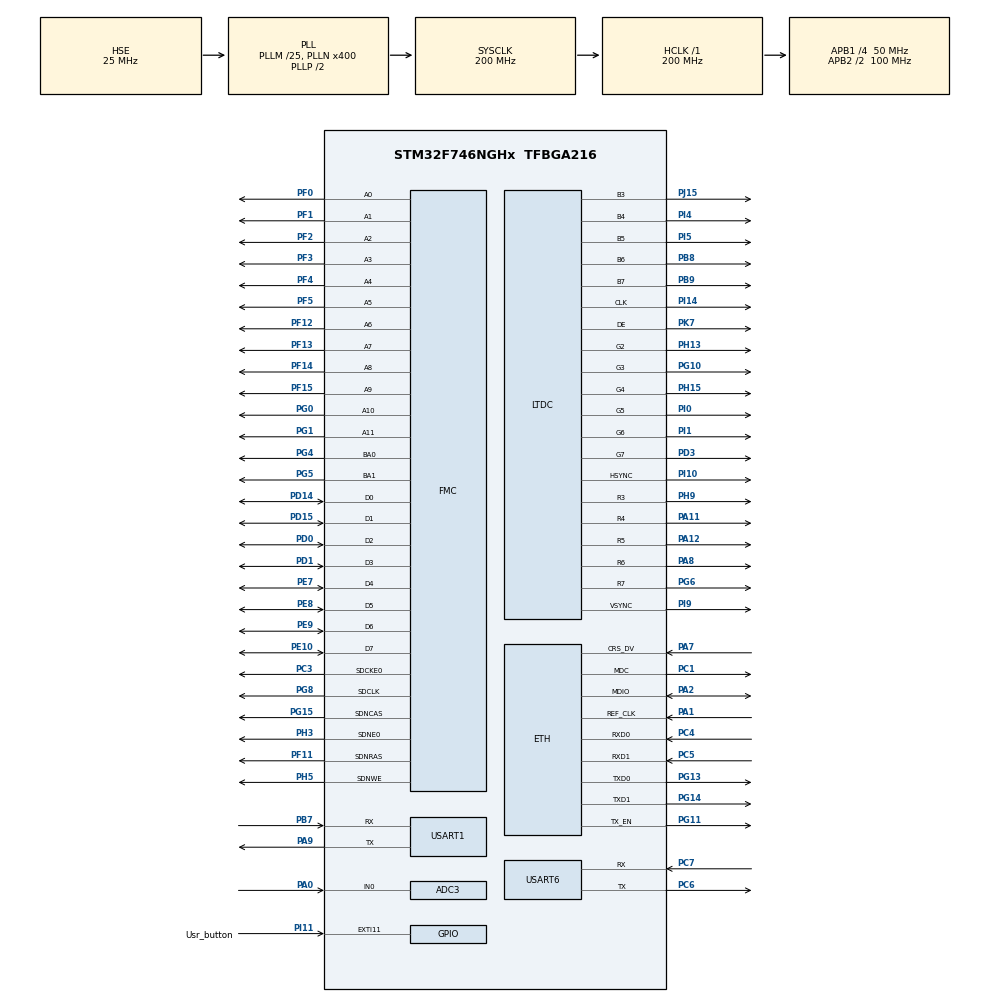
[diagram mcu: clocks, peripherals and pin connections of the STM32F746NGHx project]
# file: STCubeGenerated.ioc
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ADC3.Channel-0\#ChannelRegularConversion=ADC_CHANNEL_0
ADC3.NbrOfConversionFlag=1
ADC3.Rank-0\#ChannelRegularConversion=1
ADC3.SamplingTime-0\#ChannelRegularConversion=ADC_SAMPLETIME_3CYCLES
CORTEX_M7.AccessPermission-Cortex_Memory_Protection_Unit_Region0_Settings=MPU_REGION_FULL_ACCESS
CORTEX_M7.AccessPermission-Cortex_Memory_Protection_Unit_Region1_Settings=MPU_REGION_FULL_ACCESS
CORTEX_M7.AccessPermission-Cortex_Memory_Protection_Unit_Region2_Settings=MPU_REGION_FULL_ACCESS
CORTEX_M7.BaseAddress-Cortex_Memory_Protection_Unit_Region0_Settings=0x20000000
CORTEX_M7.BaseAddress-Cortex_Memory_Protection_Unit_Region1_Settings=0x2004C000
CORTEX_M7.BaseAddress-Cortex_Memory_Protection_Unit_Region2_Settings=0xC0000000
CORTEX_M7.CPU_DCache=Enabled
CORTEX_M7.CPU_ICache=Enabled
CORTEX_M7.DisableExec-Cortex_Memory_Protection_Unit_Region0_Settings=MPU_INSTRUCTION_ACCESS_DISABLE
CORTEX_M7.DisableExec-Cortex_Memory_Protection_Unit_Region1_Settings=MPU_INSTRUCTION_ACCESS_DISABLE
CORTEX_M7.DisableExec-Cortex_Memory_Protection_Unit_Region2_Settings=MPU_INSTRUCTION_ACCESS_DISABLE
CORTEX_M7.Enable-Cortex_Memory_Protection_Unit_Region0_Settings=MPU_REGION_ENABLE
CORTEX_M7.Enable-Cortex_Memory_Protection_Unit_Region1_Settings=MPU_REGION_ENABLE
CORTEX_M7.Enable-Cortex_Memory_Protection_Unit_Region2_Settings=MPU_REGION_ENABLE
CORTEX_M7.IsBufferable-Cortex_Memory_Protection_Unit_Region0_Settings=MPU_ACCESS_BUFFERABLE
CORTEX_M7.IsCacheable-Cortex_Memory_Protection_Unit_Region0_Settings=MPU_ACCESS_CACHEABLE
CORTEX_M7.IsShareable-Cortex_Memory_Protection_Unit_Region0_Settings=MPU_ACCESS_NOT_SHAREABLE
CORTEX_M7.MPU_Control=MPU_PRIVILEGED_DEFAULT
CORTEX_M7.Size-Cortex_Memory_Protection_Unit_Region0_Settings=MPU_REGION_SIZE_512KB
CORTEX_M7.Size-Cortex_Memory_Protection_Unit_Region1_Settings=MPU_REGION_SIZE_16KB
CORTEX_M7.Size-Cortex_Memory_Protection_Unit_Region2_Settings=MPU_REGION_SIZE_16MB
CORTEX_M7.TypeExtField-Cortex_Memory_Protection_Unit_Region0_Settings=MPU_TEX_LEVEL1
CORTEX_M7.TypeExtField-Cortex_Memory_Protection_Unit_Region1_Settings=MPU_TEX_LEVEL1
CORTEX_M7.TypeExtField-Cortex_Memory_Protection_Unit_Region2_Settings=MPU_TEX_LEVEL1
ETH.MediaInterface=HAL_ETH_RMII_MODE
Mcu.Family=STM32F7
Mcu.Name=STM32F746NGHx
Mcu.Package=TFBGA216
NVIC.ETH_IRQn=true\:0\:0\:false\:false\:false\:true\:true\:true
NVIC.EXTI15_10_IRQn=true\:0\:0\:false\:false\:true\:true\:true\:true
NVIC.PriorityGroup=NVIC_PRIORITYGROUP_4
NVIC.USART1_IRQn=true\:0\:0\:false\:false\:true\:true\:true\:true
NVIC.USART6_IRQn=true\:0\:0\:false\:false\:true\:true\:true\:true
PA0/WKUP.Signal=ADCx_IN0
PA1.Mode=RMII
PA1.Signal=ETH_REF_CLK
PA11.Mode=RGB565
PA11.Signal=LTDC_R4
PA12.Mode=RGB565
PA12.Signal=LTDC_R5
PA2.Mode=RMII
PA2.Signal=ETH_MDIO
PA7.Mode=RMII
PA7.Signal=ETH_CRS_DV
PA8.Mode=RGB565
PA8.Signal=LTDC_R6
PA9.Mode=Asynchronous
PA9.Signal=USART1_TX
PB7.Mode=Asynchronous
PB7.Signal=USART1_RX
PB8.Mode=RGB565
PB8.Signal=LTDC_B6
PB9.Mode=RGB565
PB9.Signal=LTDC_B7
PC1.Mode=RMII
PC1.Signal=ETH_MDC
PC3.Mode=SdramChipSelect1_1
PC3.Signal=FMC_SDCKE0
PC4.Mode=RMII
PC4.Signal=ETH_RXD0
PC5.Mode=RMII
PC5.Signal=ETH_RXD1
PC6.Mode=Asynchronous
PC6.Signal=USART6_TX
PC7.Mode=Asynchronous
PC7.Signal=USART6_RX
PD0.Signal=FMC_D2_DA2
PD1.Signal=FMC_D3_DA3
PD10.Signal=FMC_D15_DA15
PD11.Signal=FMC_A16_CLE
PD14.Signal=FMC_D0_DA0
PD15.Signal=FMC_D1_DA1
PD3.Mode=RGB565
PD3.Signal=LTDC_G7
PD8.Signal=FMC_D13_DA13
PD9.Signal=FMC_D14_DA14
PE0.Signal=FMC_NBL0
PE1.Signal=FMC_NBL1
PE10.Signal=FMC_D7_DA7
PE11.Signal=FMC_D8_DA8
PE12.Signal=FMC_D9_DA9
PE13.Signal=FMC_D10_DA10
PE14.Signal=FMC_D11_DA11
PE15.Signal=FMC_D12_DA12
PE7.Signal=FMC_D4_DA4
PE8.Signal=FMC_D5_DA5
PE9.Signal=FMC_D6_DA6
PF0.Signal=FMC_A0
PF1.Signal=FMC_A1
PF11.Signal=FMC_SDNRAS
PF12.Signal=FMC_A6
PF13.Signal=FMC_A7
PF14.Signal=FMC_A8
PF15.Signal=FMC_A9
PF2.Signal=FMC_A2
PF3.Signal=FMC_A3
PF4.Signal=FMC_A4
PF5.Signal=FMC_A5
PG0.Signal=FMC_A10
PG1.Signal=FMC_A11
PG10.Mode=RGB565
PG10.Signal=LTDC_G3
PG11.Mode=RMII
PG11.Signal=ETH_TX_EN
PG13.Mode=RMII
PG13.Signal=ETH_TXD0
PG14.Mode=RMII
PG14.Signal=ETH_TXD1
PG15.Signal=FMC_SDNCAS
PG4.Signal=FMC_A14_BA0
PG5.Signal=FMC_A15_BA1
PG6.Mode=RGB565
PG6.Signal=LTDC_R7
PG8.Signal=FMC_SDCLK
PH0/OSC_IN.Mode=HSE-External-Oscillator
PH0/OSC_IN.Signal=RCC_OSC_IN
PH1/OSC_OUT.Mode=HSE-External-Oscillator
PH1/OSC_OUT.Signal=RCC_OSC_OUT
PH13.Mode=RGB565
PH13.Signal=LTDC_G2
PH15.Mode=RGB565
PH15.Signal=LTDC_G4
PH3.Mode=SdramChipSelect1_1
PH3.Signal=FMC_SDNE0
PH5.Signal=FMC_SDNWE
PH9.Mode=RGB565
PH9.Signal=LTDC_R3
PI0.Mode=RGB565
PI0.Signal=LTDC_G5
PI1.Mode=RGB565
PI1.Signal=LTDC_G6
PI10.Mode=RGB565
PI10.Signal=LTDC_HSYNC
PI11.GPIO_Label=Usr_button
PI11.GPIO_ModeDefaultEXTI=GPIO_MODE_IT_RISING_FALLING
PI11.Signal=GPXTI11
PI14.Mode=RGB565
PI14.Signal=LTDC_CLK
PI4.Mode=RGB565
PI4.Signal=LTDC_B4
PI5.Mode=RGB565
PI5.Signal=LTDC_B5
PI9.Mode=RGB565
PI9.Signal=LTDC_VSYNC
PJ15.Mode=RGB565
PJ15.Signal=LTDC_B3
PK7.Mode=RGB565
PK7.Signal=LTDC_DE
ProjectManager.HeapSize=0x200
ProjectManager.StackSize=0x400
ProjectManager.TargetToolchain=MDK-ARM V5
RCC.AHBFreq_Value=200000000
RCC.APB1CLKDivider=RCC_HCLK_DIV4
RCC.APB1Freq_Value=50000000
RCC.APB1TimFreq_Value=100000000
RCC.APB2CLKDivider=RCC_HCLK_DIV2
RCC.APB2Freq_Value=100000000
RCC.APB2TimFreq_Value=200000000
RCC.CortexFreq_Value=200000000
RCC.HCLKFreq_Value=200000000
RCC.HSE_VALUE=25000000
RCC.HSI_VALUE=16000000
RCC.LSE_VALUE=32768
RCC.PLLM=25
RCC.PLLN=400
RCC.PLLSAIRDiv=RCC_PLLSAIDIVR_4
RCC.PLLSourceVirtual=RCC_PLLSOURCE_HSE
RCC.SYSCLKFreq_VALUE=200000000
RCC.SYSCLKSource=RCC_SYSCLKSOURCE_PLLCLK
RCC.USBFreq_Value=200000000
RCC.VCOOutputFreq_Value=400000000
SH.ADCx_IN0.0=ADC3_IN0,IN0
SH.FMC_A0.0=FMC_A0,12b-sda1
SH.FMC_A1.0=FMC_A1,12b-sda1
SH.FMC_A10.0=FMC_A10,12b-sda1
SH.FMC_A11.0=FMC_A11,12b-sda1
SH.FMC_A14_BA0.0=FMC_BA0,FourSdramBanks1
SH.FMC_A15_BA1.0=FMC_BA1,FourSdramBanks1
SH.FMC_A16_CLE.0=FMC_A16
SH.FMC_A2.0=FMC_A2,12b-sda1
SH.FMC_A3.0=FMC_A3,12b-sda1
SH.FMC_A4.0=FMC_A4,12b-sda1
SH.FMC_A5.0=FMC_A5,12b-sda1
SH.FMC_A6.0=FMC_A6,12b-sda1
SH.FMC_A7.0=FMC_A7,12b-sda1
SH.FMC_A8.0=FMC_A8,12b-sda1
SH.FMC_A9.0=FMC_A9,12b-sda1
SH.FMC_D0_DA0.0=FMC_D0,sd-8b-d1
SH.FMC_D10_DA10.0=FMC_D10
SH.FMC_D11_DA11.0=FMC_D11
SH.FMC_D12_DA12.0=FMC_D12
SH.FMC_D13_DA13.0=FMC_D13
SH.FMC_D14_DA14.0=FMC_D14
SH.FMC_D15_DA15.0=FMC_D15
SH.FMC_D1_DA1.0=FMC_D1,sd-8b-d1
SH.FMC_D2_DA2.0=FMC_D2,sd-8b-d1
SH.FMC_D3_DA3.0=FMC_D3,sd-8b-d1
SH.FMC_D4_DA4.0=FMC_D4,sd-8b-d1
SH.FMC_D5_DA5.0=FMC_D5,sd-8b-d1
SH.FMC_D6_DA6.0=FMC_D6,sd-8b-d1
SH.FMC_D7_DA7.0=FMC_D7,sd-8b-d1
SH.FMC_D8_DA8.0=FMC_D8
SH.FMC_D9_DA9.0=FMC_D9
SH.FMC_NBL0.0=FMC_NBL0
SH.FMC_NBL1.0=FMC_NBL1
SH.FMC_SDCLK.0=FMC_SDCLK,12b-sda1
SH.FMC_SDNCAS.0=FMC_SDNCAS,12b-sda1
SH.FMC_SDNRAS.0=FMC_SDNRAS,12b-sda1
SH.FMC_SDNWE.0=FMC_SDNWE,12b-sda1
USART1.VirtualMode-Asynchronous=VM_ASYNC
USART6.OverrunDisableParam=ADVFEATURE_OVERRUN_DISABLE
USART6.VirtualMode-Asynchronous=VM_ASYNC
VP_DMA2D_VS_DMA2D.Mode=DMA2D_Activate
board=STCubeGenerated

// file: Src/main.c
/* USER CODE BEGIN Header */
/**
  ******************************************************************************
  * @file           : main.c
  * @brief          : Main program body
  ******************************************************************************
  * @attention
  *
  * <h2><center>&copy; Copyright (c) 2019 STMicroelectronics.
  * All rights reserved.</center></h2>
  *
  * This software component is licensed by ST under BSD 3-Clause license,
  * the "License"; You may not use this file except in compliance with the
  * License. You may obtain a copy of the License at:
  *                        opensource.org/licenses/BSD-3-Clause
  *
  ******************************************************************************
  */
/* USER CODE END Header */
#include "main.h"
#include "string.h"

/* USER CODE BEGIN Includes */
#include <stdio.h>
#include <stdbool.h>
/* USER CODE END Includes */

/* USER CODE BEGIN PD */
#define BUFFER_SIZE 16
/* USER CODE END PD */

#if defined ( __ICCARM__ ) /*!< IAR Compiler */
#pragma location=0x2004c000
ETH_DMADescTypeDef  DMARxDscrTab[ETH_RX_DESC_CNT]; /* Ethernet Rx DMA Descriptors */
#pragma location=0x2004c0a0
ETH_DMADescTypeDef  DMATxDscrTab[ETH_TX_DESC_CNT]; /* Ethernet Tx DMA Descriptors */

#elif defined ( __CC_ARM )  /* MDK ARM Compiler */

__attribute__((at(0x2004c000))) ETH_DMADescTypeDef  DMARxDscrTab[ETH_RX_DESC_CNT]; /* Ethernet Rx DMA Descriptors */
__attribute__((at(0x2004c0a0))) ETH_DMADescTypeDef  DMATxDscrTab[ETH_TX_DESC_CNT]; /* Ethernet Tx DMA Descriptors */

#elif defined ( __GNUC__ ) /* GNU Compiler */
ETH_DMADescTypeDef DMARxDscrTab[ETH_RX_DESC_CNT] __attribute__((section(".RxDecripSection"))); /* Ethernet Rx DMA Descriptors */
ETH_DMADescTypeDef DMATxDscrTab[ETH_TX_DESC_CNT] __attribute__((section(".TxDecripSection")));   /* Ethernet Tx DMA Descriptors */

#endif

ETH_TxPacketConfig TxConfig;

ADC_HandleTypeDef hadc3;

DMA2D_HandleTypeDef hdma2d;

ETH_HandleTypeDef heth;

LTDC_HandleTypeDef hltdc;

UART_HandleTypeDef huart1;
UART_HandleTypeDef huart6;

SDRAM_HandleTypeDef hsdram1;

/* USER CODE BEGIN PV */
/* Private variables ---------------------------------------------------------*/
uint8_t data_uart6;
uint8_t data_uart1;
bool pin = false;
bool PinPrev = false;
bool connected = false;
char receivedBuffer[BUFFER_SIZE];
int bufferIndex = 0;
/* USER CODE END PV */

void SystemClock_Config(void);
static void MPU_Initialize(void);
static void MPU_Config(void);
static void MX_GPIO_Init(void);
static void MX_FMC_Init(void);
static void MX_USART1_UART_Init(void);
static void MX_DMA2D_Init(void);
static void MX_USART6_UART_Init(void);
static void MX_ADC3_Init(void);
void ConnectToLoraWan();
void SendMessageToHuart(UART_HandleTypeDef *huart, char msg[]);
void SendMessage(bool pressed, int32_t potValue);
/* USER CODE BEGIN PFP */
/* Private function prototypes -----------------------------------------------*/
extern void BSP_SDRAM_Init(void);
/* USER CODE END PFP */

/* USER CODE BEGIN 0 */
/**
  * Override default HAL_GetTick function
  */
uint32_t HAL_GetTick (void) {
  static uint32_t ticks = 0U;
         uint32_t i;

  if (osKernelGetState () == osKernelRunning) {
    return ((uint32_t)osKernelGetTickCount ());
  }

  /* If Kernel is not running wait approximately 1 ms then increment
     and return auxiliary tick counter value */
  for (i = (SystemCoreClock >> 14U); i > 0U; i--) {
    __NOP(); __NOP(); __NOP(); __NOP(); __NOP(); __NOP();
    __NOP(); __NOP(); __NOP(); __NOP(); __NOP(); __NOP();
  }
  return ++ticks;
}

/**
  * Override default HAL_InitTick function
  */
HAL_StatusTypeDef HAL_InitTick(uint32_t TickPriority) {

  UNUSED(TickPriority);

  return HAL_OK;
}
/* USER CODE END 0 */

int main(void)
{

  /* Enable I-Cache---------------------------------------------------------*/
  SCB_EnableICache();

  /* Enable D-Cache---------------------------------------------------------*/
  SCB_EnableDCache();

  /* MCU Configuration--------------------------------------------------------*/

  /* Reset of all peripherals, Initializes the Flash interface and the Systick. */
  HAL_Init();

  /* MPU Configuration--------------------------------------------------------*/
  MPU_Config();

  /* USER CODE BEGIN Init */
  BSP_SDRAM_Init();                           /* Initialize BSP SDRAM           */
  /* USER CODE END Init */

  /* Configure the system clock */
  SystemClock_Config();

  /* USER CODE BEGIN SysInit */
  SystemCoreClockUpdate();
  /* USER CODE END SysInit */

  /* Initialize all configured peripherals */
  MX_GPIO_Init();
  MX_USART1_UART_Init();
  MX_DMA2D_Init();
  MX_USART6_UART_Init();
  MX_ADC3_Init();
  /* USER CODE BEGIN 2 */

	HAL_UART_Receive_IT(&huart1,&data_uart1,1);
	HAL_UART_Receive_IT(&huart6,&data_uart6,1);

	/* Initialize CMSIS-RTOS2 */
  osKernelInitialize ();

  /* Create application main thread */
  osThreadNew(app_main, NULL, &app_main_attr);

  /* Start thread execution */
  osKernelStart();

  /* USER CODE END 2 */

  /* Infinite loop */
  while (1)
  {

  }
}

void SystemClock_Config(void)
{
  RCC_OscInitTypeDef RCC_OscInitStruct = {0};
  RCC_ClkInitTypeDef RCC_ClkInitStruct = {0};

  /** Configure the main internal regulator output voltage
  */
  __HAL_RCC_PWR_CLK_ENABLE();
  __HAL_PWR_VOLTAGESCALING_CONFIG(PWR_REGULATOR_VOLTAGE_SCALE1);

  /** Initializes the RCC Oscillators according to the specified parameters
  * in the RCC_OscInitTypeDef structure.
  */
  RCC_OscInitStruct.OscillatorType = RCC_OSCILLATORTYPE_HSE;
  RCC_OscInitStruct.HSEState = RCC_HSE_ON;
  RCC_OscInitStruct.PLL.PLLState = RCC_PLL_ON;
  RCC_OscInitStruct.PLL.PLLSource = RCC_PLLSOURCE_HSE;
  RCC_OscInitStruct.PLL.PLLM = 25;
  RCC_OscInitStruct.PLL.PLLN = 400;
  RCC_OscInitStruct.PLL.PLLP = RCC_PLLP_DIV2;
  RCC_OscInitStruct.PLL.PLLQ = 2;
  if (HAL_RCC_OscConfig(&RCC_OscInitStruct) != HAL_OK)
  {
    Error_Handler();
  }

  /** Activate the Over-Drive mode
  */
  if (HAL_PWREx_EnableOverDrive() != HAL_OK)
  {
    Error_Handler();
  }

  /** Initializes the CPU, AHB and APB buses clocks
  */
  RCC_ClkInitStruct.ClockType = RCC_CLOCKTYPE_HCLK|RCC_CLOCKTYPE_SYSCLK
                              |RCC_CLOCKTYPE_PCLK1|RCC_CLOCKTYPE_PCLK2;
  RCC_ClkInitStruct.SYSCLKSource = RCC_SYSCLKSOURCE_PLLCLK;
  RCC_ClkInitStruct.AHBCLKDivider = RCC_SYSCLK_DIV1;
  RCC_ClkInitStruct.APB1CLKDivider = RCC_HCLK_DIV4;
  RCC_ClkInitStruct.APB2CLKDivider = RCC_HCLK_DIV2;

  if (HAL_RCC_ClockConfig(&RCC_ClkInitStruct, FLASH_LATENCY_6) != HAL_OK)
  {
    Error_Handler();
  }
}

static void MX_ADC3_Init(void)
{

  ADC_ChannelConfTypeDef sConfig = {0};

  /** Configure the global features of the ADC (Clock, Resolution, Data Alignment and number of conversion)
  */
  hadc3.Instance = ADC3;
  hadc3.Init.ClockPrescaler = ADC_CLOCK_SYNC_PCLK_DIV4;
  hadc3.Init.Resolution = ADC_RESOLUTION_12B;
  hadc3.Init.ScanConvMode = ADC_SCAN_DISABLE;
  hadc3.Init.ContinuousConvMode = DISABLE;
  hadc3.Init.DiscontinuousConvMode = DISABLE;
  hadc3.Init.ExternalTrigConvEdge = ADC_EXTERNALTRIGCONVEDGE_NONE;
  hadc3.Init.ExternalTrigConv = ADC_SOFTWARE_START;
  hadc3.Init.DataAlign = ADC_DATAALIGN_RIGHT;
  hadc3.Init.NbrOfConversion = 1;
  hadc3.Init.DMAContinuousRequests = DISABLE;
  hadc3.Init.EOCSelection = ADC_EOC_SINGLE_CONV;
  if (HAL_ADC_Init(&hadc3) != HAL_OK)
  {
    Error_Handler();
  }

  /** Configure for the selected ADC regular channel its corresponding rank in the sequencer and its sample time.
  */
  sConfig.Channel = ADC_CHANNEL_0;
  sConfig.Rank = ADC_REGULAR_RANK_1;
  sConfig.SamplingTime = ADC_SAMPLETIME_3CYCLES;
  if (HAL_ADC_ConfigChannel(&hadc3, &sConfig) != HAL_OK)
  {
    Error_Handler();
  }

}

static void MX_DMA2D_Init(void)
{

  hdma2d.Instance = DMA2D;
  hdma2d.Init.Mode = DMA2D_M2M;
  hdma2d.Init.ColorMode = DMA2D_OUTPUT_ARGB8888;
  hdma2d.Init.OutputOffset = 0;
  hdma2d.LayerCfg[1].InputOffset = 0;
  hdma2d.LayerCfg[1].InputColorMode = DMA2D_INPUT_ARGB8888;
  hdma2d.LayerCfg[1].AlphaMode = DMA2D_NO_MODIF_ALPHA;
  hdma2d.LayerCfg[1].InputAlpha = 0;
  if (HAL_DMA2D_Init(&hdma2d) != HAL_OK)
  {
    Error_Handler();
  }
  if (HAL_DMA2D_ConfigLayer(&hdma2d, 1) != HAL_OK)
  {
    Error_Handler();
  }

}

void MX_ETH_Init(void)
{

   static uint8_t MACAddr[6];

  heth.Instance = ETH;
  MACAddr[0] = 0x00;
  MACAddr[1] = 0x80;
  MACAddr[2] = 0xE1;
  MACAddr[3] = 0x00;
  MACAddr[4] = 0x00;
  MACAddr[5] = 0x00;
  heth.Init.MACAddr = &MACAddr[0];
  heth.Init.MediaInterface = HAL_ETH_RMII_MODE;
  heth.Init.TxDesc = DMATxDscrTab;
  heth.Init.RxDesc = DMARxDscrTab;
  heth.Init.RxBuffLen = 1524;

  if (HAL_ETH_Init(&heth) != HAL_OK)
  {
    Error_Handler();
  }

  memset(&TxConfig, 0 , sizeof(ETH_TxPacketConfig));
  TxConfig.Attributes = ETH_TX_PACKETS_FEATURES_CSUM | ETH_TX_PACKETS_FEATURES_CRCPAD;
  TxConfig.ChecksumCtrl = ETH_CHECKSUM_IPHDR_PAYLOAD_INSERT_PHDR_CALC;
  TxConfig.CRCPadCtrl = ETH_CRC_PAD_INSERT;

}

void MX_LTDC_Init(void)
{

  LTDC_LayerCfgTypeDef pLayerCfg = {0};
  LTDC_LayerCfgTypeDef pLayerCfg1 = {0};

  hltdc.Instance = LTDC;
  hltdc.Init.HSPolarity = LTDC_HSPOLARITY_AL;
  hltdc.Init.VSPolarity = LTDC_VSPOLARITY_AL;
  hltdc.Init.DEPolarity = LTDC_DEPOLARITY_AL;
  hltdc.Init.PCPolarity = LTDC_PCPOLARITY_IPC;
  hltdc.Init.HorizontalSync = 7;
  hltdc.Init.VerticalSync = 3;
  hltdc.Init.AccumulatedHBP = 14;
  hltdc.Init.AccumulatedVBP = 5;
  hltdc.Init.AccumulatedActiveW = 654;
  hltdc.Init.AccumulatedActiveH = 485;
  hltdc.Init.TotalWidth = 660;
  hltdc.Init.TotalHeigh = 487;
  hltdc.Init.Backcolor.Blue = 0;
  hltdc.Init.Backcolor.Green = 0;
  hltdc.Init.Backcolor.Red = 0;
  if (HAL_LTDC_Init(&hltdc) != HAL_OK)
  {
    Error_Handler();
  }
  pLayerCfg.WindowX0 = 0;
  pLayerCfg.WindowX1 = 0;
  pLayerCfg.WindowY0 = 0;
  pLayerCfg.WindowY1 = 0;
  pLayerCfg.PixelFormat = LTDC_PIXEL_FORMAT_ARGB8888;
  pLayerCfg.Alpha = 0;
  pLayerCfg.Alpha0 = 0;
  pLayerCfg.BlendingFactor1 = LTDC_BLENDING_FACTOR1_CA;
  pLayerCfg.BlendingFactor2 = LTDC_BLENDING_FACTOR2_CA;
  pLayerCfg.FBStartAdress = 0;
  pLayerCfg.ImageWidth = 0;
  pLayerCfg.ImageHeight = 0;
  pLayerCfg.Backcolor.Blue = 0;
  pLayerCfg.Backcolor.Green = 0;
  pLayerCfg.Backcolor.Red = 0;
  if (HAL_LTDC_ConfigLayer(&hltdc, &pLayerCfg, 0) != HAL_OK)
  {
    Error_Handler();
  }
  pLayerCfg1.WindowX0 = 0;
  pLayerCfg1.WindowX1 = 0;
  pLayerCfg1.WindowY0 = 0;
  pLayerCfg1.WindowY1 = 0;
  pLayerCfg1.PixelFormat = LTDC_PIXEL_FORMAT_ARGB8888;
  pLayerCfg1.Alpha = 0;
  pLayerCfg1.Alpha0 = 0;
  pLayerCfg1.BlendingFactor1 = LTDC_BLENDING_FACTOR1_CA;
  pLayerCfg1.BlendingFactor2 = LTDC_BLENDING_FACTOR2_CA;
  pLayerCfg1.FBStartAdress = 0;
  pLayerCfg1.ImageWidth = 0;
  pLayerCfg1.ImageHeight = 0;
  pLayerCfg1.Backcolor.Blue = 0;
  pLayerCfg1.Backcolor.Green = 0;
  pLayerCfg1.Backcolor.Red = 0;
  if (HAL_LTDC_ConfigLayer(&hltdc, &pLayerCfg1, 1) != HAL_OK)
  {
    Error_Handler();
  }

}

static void MX_USART1_UART_Init(void)
{

  huart1.Instance = USART1;
  huart1.Init.BaudRate = 115200;
  huart1.Init.WordLength = UART_WORDLENGTH_8B;
  huart1.Init.StopBits = UART_STOPBITS_1;
  huart1.Init.Parity = UART_PARITY_NONE;
  huart1.Init.Mode = UART_MODE_TX_RX;
  huart1.Init.HwFlowCtl = UART_HWCONTROL_NONE;
  huart1.Init.OverSampling = UART_OVERSAMPLING_16;
  huart1.Init.OneBitSampling = UART_ONE_BIT_SAMPLE_DISABLE;
  huart1.AdvancedInit.AdvFeatureInit = UART_ADVFEATURE_NO_INIT;
  if (HAL_UART_Init(&huart1) != HAL_OK)
  {
    Error_Handler();
  }

}

static void MX_USART6_UART_Init(void)
{

  huart6.Instance = USART6;
  huart6.Init.BaudRate = 115200;
  huart6.Init.WordLength = UART_WORDLENGTH_8B;
  huart6.Init.StopBits = UART_STOPBITS_1;
  huart6.Init.Parity = UART_PARITY_NONE;
  huart6.Init.Mode = UART_MODE_TX_RX;
  huart6.Init.HwFlowCtl = UART_HWCONTROL_NONE;
  huart6.Init.OverSampling = UART_OVERSAMPLING_16;
  huart6.Init.OneBitSampling = UART_ONE_BIT_SAMPLE_DISABLE;
  huart6.AdvancedInit.AdvFeatureInit = UART_ADVFEATURE_RXOVERRUNDISABLE_INIT;
  huart6.AdvancedInit.OverrunDisable = UART_ADVFEATURE_OVERRUN_DISABLE;
  if (HAL_UART_Init(&huart6) != HAL_OK)
  {
    Error_Handler();
  }

}

/* FMC initialization function */
static void MX_FMC_Init(void)
{

  FMC_SDRAM_TimingTypeDef SdramTiming = {0};

  /** Perform the SDRAM1 memory initialization sequence
  */
  hsdram1.Instance = FMC_SDRAM_DEVICE;
  /* hsdram1.Init */
  hsdram1.Init.SDBank = FMC_SDRAM_BANK1;
  hsdram1.Init.ColumnBitsNumber = FMC_SDRAM_COLUMN_BITS_NUM_8;
  hsdram1.Init.RowBitsNumber = FMC_SDRAM_ROW_BITS_NUM_12;
  hsdram1.Init.MemoryDataWidth = FMC_SDRAM_MEM_BUS_WIDTH_8;
  hsdram1.Init.InternalBankNumber = FMC_SDRAM_INTERN_BANKS_NUM_4;
  hsdram1.Init.CASLatency = FMC_SDRAM_CAS_LATENCY_1;
  hsdram1.Init.WriteProtection = FMC_SDRAM_WRITE_PROTECTION_DISABLE;
  hsdram1.Init.SDClockPeriod = FMC_SDRAM_CLOCK_DISABLE;
  hsdram1.Init.ReadBurst = FMC_SDRAM_RBURST_DISABLE;
  hsdram1.Init.ReadPipeDelay = FMC_SDRAM_RPIPE_DELAY_0;
  /* SdramTiming */
  SdramTiming.LoadToActiveDelay = 16;
  SdramTiming.ExitSelfRefreshDelay = 16;
  SdramTiming.SelfRefreshTime = 16;
  SdramTiming.RowCycleDelay = 16;
  SdramTiming.WriteRecoveryTime = 16;
  SdramTiming.RPDelay = 16;
  SdramTiming.RCDDelay = 16;

  if (HAL_SDRAM_Init(&hsdram1, &SdramTiming) != HAL_OK)
  {
    Error_Handler( );
  }

}

static void MX_GPIO_Init(void)
{
  GPIO_InitTypeDef GPIO_InitStruct = {0};

  /* GPIO Ports Clock Enable */
  __HAL_RCC_GPIOG_CLK_ENABLE();
  __HAL_RCC_GPIOE_CLK_ENABLE();
  __HAL_RCC_GPIOB_CLK_ENABLE();
  __HAL_RCC_GPIOD_CLK_ENABLE();
  __HAL_RCC_GPIOA_CLK_ENABLE();
  __HAL_RCC_GPIOI_CLK_ENABLE();
  __HAL_RCC_GPIOK_CLK_ENABLE();
  __HAL_RCC_GPIOF_CLK_ENABLE();
  __HAL_RCC_GPIOJ_CLK_ENABLE();
  __HAL_RCC_GPIOH_CLK_ENABLE();
  __HAL_RCC_GPIOC_CLK_ENABLE();

  /*Configure GPIO pin : Usr_button_Pin */
  GPIO_InitStruct.Pin = Usr_button_Pin;
  GPIO_InitStruct.Mode = GPIO_MODE_IT_RISING_FALLING;
  GPIO_InitStruct.Pull = GPIO_NOPULL;
  HAL_GPIO_Init(Usr_button_GPIO_Port, &GPIO_InitStruct);

  /* EXTI interrupt init*/
  HAL_NVIC_SetPriority(EXTI15_10_IRQn, 0, 0);
  HAL_NVIC_EnableIRQ(EXTI15_10_IRQn);

}

/* USER CODE BEGIN 4 */
void HAL_UART_RxCpltCallback(UART_HandleTypeDef *huart) {
    if (huart == &huart6) {
        huart1.Instance->TDR = data_uart6;
        HAL_UART_Receive_IT(&huart6,&data_uart6,1);
    }
    if (huart == &huart1) {
        huart6.Instance->TDR = data_uart1;
        HAL_UART_Receive_IT(&huart1,&data_uart1,1);
    }
}

void HAL_GPIO_EXTI_Callback(uint16_t GPIO_Pin)
{
  if(GPIO_Pin == Usr_button_Pin) {
		if(!connected){
			ConnectToLoraWan();
			return;
		}
	  if (HAL_GPIO_ReadPin(Usr_button_GPIO_Port, Usr_button_Pin) == GPIO_PIN_SET)
			pin = true;
		else
			pin = false;
  } else {
      __NOP();
  }
}

void ConnectToLoraWan(){
	//huart1.Instance->TDR = "connect To LoraWan";
	char message[] = "ATE=1\r\nAT+NTYP=1\r\nAT+DR=3\r\nAT+RX2DR=3\r\nAT+DC=0\r\nAT+APPEUI=0000000000000000\r\nAT+AK=3A7A193146AB05E7DCC5C32428A6C144\r\nAT+JOIN=1\r\n";
	SendMessageToHuart(&huart6, message);
	connected = true;
}

void SendMessage(bool pressed, int32_t potValue) {
    if (pressed){
			char message[46];
			sprintf(message, "AT+SEND=2,01%04x,1\r", potValue);
			SendMessageToHuart(&huart6, message);
		}
    else{
			char message[46];
			sprintf(message, "AT+SEND=2,00%04x,1\r", potValue);
			SendMessageToHuart(&huart6, message);
		}
		HAL_Delay(2000);
}

void SendMessageToHuart(UART_HandleTypeDef *huart, char msg[]){
	for (int i = 0; i < strlen(msg); i++) {
			while (!(huart->Instance->ISR & UART_FLAG_TXE)); // Wacht tot het transmit register leeg is
			huart->Instance->TDR = msg[i];
	}
}

/* USER CODE END 4 */

/* MPU Configuration */

void MPU_Config(void)
{
  MPU_Region_InitTypeDef MPU_InitStruct = {0};

  /* Disables the MPU */
  HAL_MPU_Disable();

  /** Initializes and configures the Region and the memory to be protected
  */
  MPU_InitStruct.Enable = MPU_REGION_ENABLE;
  MPU_InitStruct.Number = MPU_REGION_NUMBER0;
  MPU_InitStruct.BaseAddress = 0x20000000;
  MPU_InitStruct.Size = MPU_REGION_SIZE_512KB;
  MPU_InitStruct.SubRegionDisable = 0x0;
  MPU_InitStruct.TypeExtField = MPU_TEX_LEVEL1;
  MPU_InitStruct.AccessPermission = MPU_REGION_FULL_ACCESS;
  MPU_InitStruct.DisableExec = MPU_INSTRUCTION_ACCESS_DISABLE;
  MPU_InitStruct.IsShareable = MPU_ACCESS_NOT_SHAREABLE;
  MPU_InitStruct.IsCacheable = MPU_ACCESS_CACHEABLE;
  MPU_InitStruct.IsBufferable = MPU_ACCESS_BUFFERABLE;

  HAL_MPU_ConfigRegion(&MPU_InitStruct);

  /** Initializes and configures the Region and the memory to be protected
  */
  MPU_InitStruct.Number = MPU_REGION_NUMBER1;
  MPU_InitStruct.BaseAddress = 0x2004C000;
  MPU_InitStruct.Size = MPU_REGION_SIZE_16KB;
  MPU_InitStruct.IsCacheable = MPU_ACCESS_NOT_CACHEABLE;
  MPU_InitStruct.IsBufferable = MPU_ACCESS_NOT_BUFFERABLE;

  HAL_MPU_ConfigRegion(&MPU_InitStruct);

  /** Initializes and configures the Region and the memory to be protected
  */
  MPU_InitStruct.Number = MPU_REGION_NUMBER2;
  MPU_InitStruct.BaseAddress = 0xC0000000;
  MPU_InitStruct.Size = MPU_REGION_SIZE_16MB;

  HAL_MPU_ConfigRegion(&MPU_InitStruct);
  /* Enables the MPU */
  HAL_MPU_Enable(MPU_PRIVILEGED_DEFAULT);

}

void Error_Handler(void)
{
  while(1)
  {
  }
}
